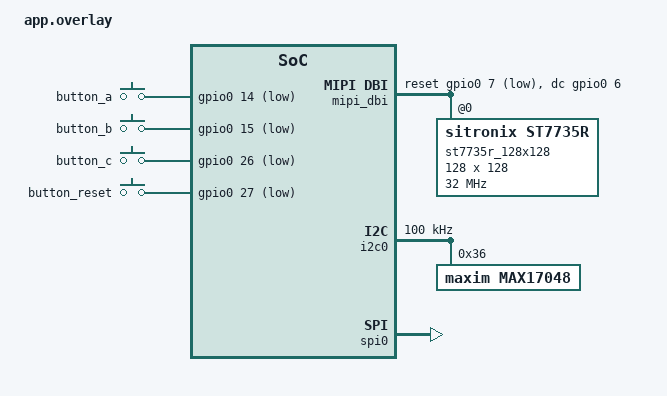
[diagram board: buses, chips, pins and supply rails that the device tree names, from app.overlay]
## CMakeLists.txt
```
cmake_minimum_required(VERSION 3.20.0)
find_package(Zephyr REQUIRED HINTS $ENV{ZEPHYR_BASE})
project(st7735_lvgl_app)

set(IMAGE_IN ${CMAKE_CURRENT_SOURCE_DIR}/images/room.jpg)
set(IMAGE_OUT_C ${CMAKE_CURRENT_BINARY_DIR}/my_bg.c)

if(EXISTS ${IMAGE_IN})
    message(STATUS "FILE ${IMAGE_IN} found")
else()
    message(FATAL_ERROR "FILE ${IMAGE_IN} not found, add image to continue")
endif()

add_custom_command(
    OUTPUT ${IMAGE_OUT_C}
    COMMAND python3 ${CMAKE_CURRENT_SOURCE_DIR}/scripts/img_converter.py 
            ${IMAGE_IN} 
            ${IMAGE_OUT_C} 
            my_bg
    DEPENDS ${IMAGE_IN} ${CMAKE_CURRENT_SOURCE_DIR}/scripts/img_converter.py
)
target_sources(app PRIVATE
    src/main.c
    src/control.c
    src/battery.c
    src/hmi.c
    ${IMAGE_OUT_C})
```

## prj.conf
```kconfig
# Hardware Subsystems
CONFIG_DISPLAY=y
CONFIG_SPI=y
CONFIG_MIPI_DBI=y
CONFIG_I2C=y

# Display Driver
CONFIG_ST7735R=y

# MAIN
CONFIG_MAIN_STACK_SIZE=8192
CONFIG_HEAP_MEM_POOL_SIZE=16384

# LVGL Graphics
CONFIG_LVGL=y
CONFIG_LV_Z_MEM_POOL_SIZE=16384
CONFIG_LV_Z_VDB_SIZE=100
CONFIG_LV_COLOR_DEPTH_16=y
CONFIG_LV_COLOR_16_SWAP=y

# Input subsystem
CONFIG_GPIO=y
CONFIG_INPUT=y

# Battery
CONFIG_FUEL_GAUGE=y
CONFIG_FUEL_GAUGE_INIT_PRIORITY=90
CONFIG_SENSOR=y
CONFIG_MAX17048=y

CONFIG_ZBUS=y
```

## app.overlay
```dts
#include <zephyr/dt-bindings/mipi_dbi/mipi_dbi.h>
#include <zephyr/dt-bindings/input/input-event-codes.h>

/ {
    chosen {
        zephyr,display = &st7735r_128x128;
    };

    mipi_dbi {
        compatible = "zephyr,mipi-dbi-spi";
        spi-dev = <&spi0>;
        
        dc-gpios = <&gpio0 6 GPIO_ACTIVE_HIGH>;
        reset-gpios = <&gpio0 7 GPIO_ACTIVE_LOW>;
        #address-cells = <1>;
        #size-cells = <0>;

        st7735r_128x128: st7735r@0 {
            compatible = "sitronix,st7735r";
            reg = <0>;
            
            mipi-max-frequency = <32000000>;
            mipi-mode = "MIPI_DBI_MODE_SPI_4WIRE";

            rgb-is-inverted;
            
            width = <128>;
            height = <128>;
            x-offset = <2>;
            y-offset = <3>; 
            
            madctl = <0xc8>;
            colmod = <0x05>;
            vmctr1 = <0x0e>;
            pwctr1 = [a2 02 84];
            pwctr2 = [c5];
            pwctr3 = [0a 00];
            pwctr4 = [8a 2a];
            pwctr5 = [8a ee];
            frmctr1 = [01 2c 2d];
            frmctr2 = [01 2c 2d];
            frmctr3 = [01 2c 2d 01 2c 2d];
            
            gamctrp1 = [02 1c 07 12 37 32 29 2d 29 25 2b 39 00 01 03 10];
            gamctrn1 = [03 1d 07 06 2e 2c 29 2d 2e 2e 37 3f 00 00 02 10];
        };
    };

    buttons: gpio-keys {
        compatible = "gpio-keys";
        debounce-interval-ms = <30>;

        button_a: button_a {
            gpios = <&gpio0 14 (GPIO_ACTIVE_LOW | GPIO_PULL_UP)>;
            zephyr,code = <INPUT_KEY_A>;
        };

        button_b: button_b {
            gpios = <&gpio0 15 (GPIO_ACTIVE_LOW | GPIO_PULL_UP)>;
            zephyr,code = <INPUT_KEY_B>;
        };

        button_c: button_c {
            gpios = <&gpio0 26 (GPIO_ACTIVE_LOW | GPIO_PULL_UP)>;
            zephyr,code = <INPUT_KEY_C>;
        };

        button_reset: button_reset {
            gpios = <&gpio0 27 (GPIO_ACTIVE_LOW | GPIO_PULL_UP)>;
            zephyr,code = <INPUT_KEY_R>;
        };
    };

};

&i2c0 {
    status = "okay";
    clock-frequency = <I2C_BITRATE_STANDARD>;

    pinctrl-0 = <&i2c0_custom>;
    pinctrl-names = "default";

    max17048@36 {
        compatible = "maxim,max17048";
        status= "okay";
        reg = <0x36>;
    };
};

&spi0 {
    pinctrl-0 = <&spi0_default>;
    status = "okay";
    cs-gpios = <&gpio0 5 GPIO_ACTIVE_LOW>;
};

&pinctrl {
    i2c0_custom: i2c0_custom {
        group1 {
            pinmux = <I2C0_SDA_P0>;
            input-enable;
            input-schmitt-enable;
        };

        group2 {
            pinmux = <I2C0_SCL_P1>;
            input-enable;
            input-schmitt-enable;
        };
    };

    spi0_custom_pins: spi0_default {
        group1 {
            pinmux = <SPI0_TX_P3>;
        };

        group3 {
            pinmux = <SPI0_SCK_P2>;
        };
    };
};
```

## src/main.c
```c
#include <zephyr/kernel.h>
#include <lvgl.h>

int main(void)
{
    while (1) {

        /*
         * lv_tast_handler is called here because it cannot be called in the thread.
         */
        lv_task_handler();
        k_msleep(10);
    }
}
```

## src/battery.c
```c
#include <zephyr/device.h>
#include <zephyr/kernel.h>
#include <zephyr/drivers/fuel_gauge.h>

#include "events.h"

#define GET_VALUE_OR_FULL(val, full) \
    ((val) > (full))? (full): (val)

const struct device *gauge_dev = DEVICE_DT_GET_ANY(maxim_max17048);

static void battery_check(void)
{
    while (1) {
        if (device_is_ready(gauge_dev)) {
            union fuel_gauge_prop_val val;
            int ret = fuel_gauge_get_prop(gauge_dev, FUEL_GAUGE_RELATIVE_STATE_OF_CHARGE_PCT, &val);
            if (ret < 0) {
                struct battery_action error = {.has_error=true};
                zbus_chan_pub(&battery_chan, &error, K_NO_WAIT);
            } else {
                struct battery_action msg = {.percentage=GET_VALUE_OR_FULL(val.relative_state_of_charge_pct, 100)};
                zbus_chan_pub(&battery_chan, &msg, K_NO_WAIT);
            }
        }
        k_sleep(K_SECONDS(1));
    }
}
K_THREAD_DEFINE(battery_tid, 1024, battery_check, NULL, NULL, NULL, 7, 0, 0);
```

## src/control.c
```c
#include <stdint.h>
#include <zephyr/kernel.h>
#include <zephyr/device.h>
#include <zephyr/input/input.h>

#include "events.h"

const struct device * const buttons = DEVICE_DT_GET(DT_NODELABEL(buttons));

static void input_cb(struct input_event *e, void *user_input)
{
    if (e->type == INPUT_EV_KEY) {
        struct button_action action = {
            .key_code = e->code,
            .is_pressed = (e->value == 1),
        };
        zbus_chan_pub(&input_chan, &action, K_NO_WAIT);
    }
}

INPUT_CALLBACK_DEFINE(buttons, input_cb, NULL);
```

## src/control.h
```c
#ifndef CONTROL_H
#define CONTROL_H

#include <zephyr/kernel.h>

struct button_action {
    uint16_t key_code;
    bool is_pressed;
};

extern struct k_msgq btn_msgq;

#endif
```

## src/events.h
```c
#ifndef EVENTS_H
#define EVENTS_H

#include <stdint.h>
#include <stdbool.h>
#include <zephyr/zbus/zbus.h>
#include <zephyr/dt-bindings/input/input-event-codes.h>

struct button_action {
#define BUTTON_A INPUT_KEY_A
#define BUTTON_B INPUT_KEY_B
#define BUTTON_C INPUT_KEY_C
#define BUTTON_RESET INPUT_KEY_R
    uint16_t key_code;
    bool is_pressed;
};

struct battery_action {
    uint16_t percentage;
    bool has_error;
};

ZBUS_CHAN_DECLARE(input_chan);
ZBUS_CHAN_DECLARE(battery_chan);

#endif
```

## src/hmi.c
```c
#include <zephyr/kernel.h>
#include <zephyr/device.h>
#include <zephyr/drivers/display.h>
#include <lvgl.h>

#include "events.h"

LV_IMAGE_DECLARE(my_bg);

lv_obj_t *battery_label = NULL;
lv_obj_t *buttons_label = NULL;

ZBUS_SUBSCRIBER_DEFINE(display_sub, 4);

ZBUS_CHAN_DEFINE(
        input_chan,
        struct button_action,
        NULL, NULL,
        ZBUS_OBSERVERS(display_sub),
        ZBUS_MSG_INIT(0)
);

ZBUS_CHAN_DEFINE(
        battery_chan,
        struct battery_action,
        NULL, NULL,
        ZBUS_OBSERVERS(display_sub),
        ZBUS_MSG_INIT(0)
);

static void _hmi_thread(void *p1, void *p2, void *p3)
{
    while (1) {
        if (battery_label == NULL || buttons_label == NULL)
            continue;
        const struct zbus_channel *chan;
        if (zbus_sub_wait(&display_sub, &chan, K_MSEC(50)) == 0) {
            if (chan == &input_chan) {
                struct button_action current_action;
                zbus_chan_read(&input_chan, &current_action, K_NO_WAIT);
                switch (current_action.key_code) {
                    case BUTTON_A:
                        if (current_action.is_pressed) {
                            lv_label_set_text(buttons_label, "INPUT A");
                            lv_obj_remove_flag(buttons_label, LV_OBJ_FLAG_HIDDEN);
                        } else {
                            lv_obj_add_flag(buttons_label, LV_OBJ_FLAG_HIDDEN);
                        }
                        break;
                    case BUTTON_B:
                        if (current_action.is_pressed) {
                            lv_label_set_text(buttons_label, "INPUT B");
                            lv_obj_remove_flag(buttons_label, LV_OBJ_FLAG_HIDDEN);
                        } else {
                            lv_obj_add_flag(buttons_label, LV_OBJ_FLAG_HIDDEN);
                        }
                        break;
                    case BUTTON_C:
                        if (current_action.is_pressed) {
                            lv_label_set_text(buttons_label, "INPUT C");
                            lv_obj_remove_flag(buttons_label, LV_OBJ_FLAG_HIDDEN);
                        } else {
                            lv_obj_add_flag(buttons_label, LV_OBJ_FLAG_HIDDEN);
                        }
                        break;
                    case BUTTON_RESET:
                        if (current_action.is_pressed) {
                            lv_label_set_text(buttons_label, "INPUT R");
                            lv_obj_remove_flag(buttons_label, LV_OBJ_FLAG_HIDDEN);
                        } else {
                            lv_obj_add_flag(buttons_label, LV_OBJ_FLAG_HIDDEN);
                        }
                        break;
                }
            } else if (chan == &battery_chan) {
                struct battery_action action;
                zbus_chan_read(&battery_chan, &action, K_NO_WAIT);
                if (action.has_error)
                    lv_label_set_text(battery_label, "Bat: ERR");
                else
                    lv_label_set_text_fmt(battery_label, "Bat: %d%%", action.percentage);
            }
        }

    }
}
K_THREAD_DEFINE(hmi_thread, 2048, _hmi_thread, NULL, NULL, NULL, 101, 0, 50);

int hmi_init(void)
{
    const struct device *display_dev = DEVICE_DT_GET(DT_CHOSEN(zephyr_display));
    if (!device_is_ready(display_dev)) {
        return -1;
    }

    display_blanking_off(display_dev);
    lv_obj_t *bg_img = lv_image_create(lv_screen_active());

    lv_image_set_src(bg_img, &my_bg);
    lv_obj_center(bg_img);

    // Battery label
    battery_label = lv_label_create(lv_screen_active());
    lv_obj_set_style_text_align(battery_label, LV_TEXT_ALIGN_CENTER, 0);
    lv_obj_set_style_text_color(battery_label, lv_color_hex(0x000000), LV_PART_MAIN);
    lv_obj_align(battery_label, LV_ALIGN_TOP_RIGHT, -2, 2);
    lv_label_set_text(battery_label, "Bat: N/A");

    // Button label
    buttons_label = lv_label_create(lv_screen_active());
    lv_obj_set_style_text_align(buttons_label, LV_TEXT_ALIGN_CENTER, 0);
    lv_obj_set_style_text_color(buttons_label, lv_color_hex(0x000000), LV_PART_MAIN);
    lv_obj_align(buttons_label, LV_ALIGN_CENTER, 0, 0);

    lv_obj_add_flag(buttons_label, LV_OBJ_FLAG_HIDDEN);

    return 0;
}

SYS_INIT(hmi_init, APPLICATION, 100);
```
